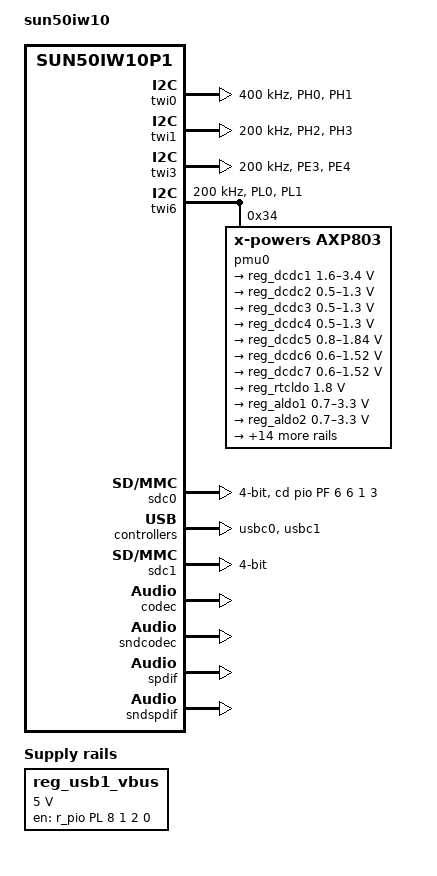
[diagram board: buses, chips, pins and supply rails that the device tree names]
/*
 * Allwinner Technology CO., Ltd. sun50iw10p1 soc board.
 *
 * soc board support.
 */

/dts-v1/;

#include "sun50iw10p1.dtsi"

/{
	model = "sun50iw10";
	compatible = "allwinner,a100", "arm,sun50iw10p1";

	aliases {
		pmu0 = &pmu0;
		standby_param = &standby_param;
	};

	reg_usb1_vbus: usb1-vbus {
		compatible = "regulator-fixed";
		gpio = <&r_pio PL 8 1 2 0 1>;
		regulator-name = "usb1-vbus";
		regulator-min-microvolt = <5000000>;
		regulator-max-microvolt = <5000000>;
		enable-active-high;
	};

	soc@03000000 {

		r_pio: pinctrl@07022000 {

			s_twi0_pins_a: s_twi0@0 {
				allwinner,pins = "PL0", "PL1";
				allwinner,pname = "s_twi0_scl", "s_twi0_sda";
				allwinner,function = "s_twi0";
				allwinner,muxsel = <2>;
				allwinner,drive = <1>;
				allwinner,pull = <1>;
			};

			s_twi0_pins_b: s_twi0@1 {
				allwinner,pins = "PL0", "PL1";
				allwinner,function = "io_disabled";
				allwinner,muxsel = <7>;
				allwinner,drive = <1>;
				allwinner,pull = <0>;
			};
		};
		pio: pinctrl@0300b000 {
			twi0_pins_a: twi0@0 {
				allwinner,pins = "PH0", "PH1";
				allwinner,pname = "twi0_scl", "twi0_sda";
				allwinner,function = "twi0";
				allwinner,muxsel = <2>;
				allwinner,drive = <1>;
				allwinner,pull = <0>;
			};

			twi0_pins_b: twi0@1 {
				allwinner,pins = "PH0", "PH1";
				allwinner,function = "io_disabled";
				allwinner,muxsel = <7>;
				allwinner,drive = <1>;
				allwinner,pull = <0>;
			};

			twi1_pins_a: twi1@0 {
				allwinner,pins = "PH2", "PH3";
				allwinner,pname = "twi1_scl", "twi1_sda";
				allwinner,function = "twi1";
				allwinner,muxsel = <2>;
				allwinner,drive = <1>;
				allwinner,pull = <0>;
			};

			twi1_pins_b: twi1@1 {
				allwinner,pins = "PH2", "PH3";
				allwinner,function = "io_disabled";
				allwinner,muxsel = <7>;
				allwinner,drive = <1>;
				allwinner,pull = <0>;
			};

			twi2_pins_a: twi2@0 {
				allwinner,pins = "PE1", "PE2";
				allwinner,pname = "twi2_scl", "twi2_sda";
				allwinner,function = "twi2";
				allwinner,muxsel = <2>;
				allwinner,drive = <1>;
				allwinner,pull = <0>;
			};

			twi2_pins_b: twi2@1 {
				allwinner,pins = "PE1", "PE2";
				allwinner,function = "io_disabled";
				allwinner,muxsel = <7>;
				allwinner,drive = <1>;
				allwinner,pull = <0>;
			};

			twi3_pins_a: twi3@0 {
				allwinner,pins = "PE3", "PE4";
				allwinner,pname = "twi3_scl", "twi3_sda";
				allwinner,function = "twi3";
				allwinner,muxsel = <2>;
				allwinner,drive = <1>;
				allwinner,pull = <1>;
			};

			twi3_pins_b: twi3@1 {
				allwinner,pins = "PE3", "PE4";
				allwinner,function = "io_disabled";
				allwinner,muxsel = <7>;
				allwinner,drive = <1>;
				allwinner,pull = <0>;
			};

			pwm0_pin_a: pwm0@0 {
				allwinner,pins = "PD23";
				allwinner,function = "pwm0";
				allwinner,muxsel = <0x02>;
				allwinner,drive = <0x2>;
				allwinner,pull = <0>;
				allwinner,data = <0xffffffff>;
			};

			pwm0_pin_b: pwm0@1 {
				allwinner,pins = "PD23";
				allwinner,function = "io_disabled";
				allwinner,muxsel = <0x07>;
				allwinner,drive = <0x2>;
				allwinner,pull = <0>;
				allwinner,data = <0xffffffff>;
			};

			pwm1_pin_a: pwm1@0 {
				allwinner,pins = "PD22";
				allwinner,function = "pwm1";
				allwinner,muxsel = <0x02>;
				allwinner,drive = <0x2>;
				allwinner,pull = <0>;
				allwinner,data = <0xffffffff>;
			};

			pwm1_pin_b: pwm1@1 {
				allwinner,pins = "PD22";
				allwinner,function = "io_disabled";
				allwinner,muxsel = <0x07>;
				allwinner,drive = <0x2>;
				allwinner,pull = <0>;
				allwinner,data = <0xffffffff>;
			};

			pwm2_pin_a: pwm2@0 {
				allwinner,pins = "PD20";
				allwinner,function = "pwm2";
				allwinner,muxsel = <0x02>;
				allwinner,drive = <0x2>;
				allwinner,pull = <0>;
				allwinner,data = <0xffffffff>;
			};

			pwm2_pin_b: pwm2@1 {
				allwinner,pins = "PD20";
				allwinner,function = "io_disabled";
				allwinner,muxsel = <0x07>;
				allwinner,drive = <0x2>;
				allwinner,pull = <0>;
				allwinner,data = <0xffffffff>;
			};

			pwm3_pin_a: pwm3@0 {
				allwinner,pins = "PD21";
				allwinner,function = "pwm3";
				allwinner,muxsel = <0x02>;
				allwinner,drive = <0x2>;
				allwinner,pull = <0>;
				allwinner,data = <0xffffffff>;
			};

			pwm3_pin_b: pwm3@1 {
				allwinner,pins = "PD21";
				allwinner,function = "io_disabled";
				allwinner,muxsel = <0x07>;
				allwinner,drive = <0x2>;
				allwinner,pull = <0>;
				allwinner,data = <0xffffffff>;
			};
		};

		twi0: twi@0x05002000{
			clock-frequency = <400000>;
			pinctrl-0 = <&twi0_pins_a>;
			pinctrl-1 = <&twi0_pins_b>;
			status = "okay";
		};

		twi1: twi@0x05002400{
			clock-frequency = <200000>;
			pinctrl-0 = <&twi1_pins_a>;
			pinctrl-1 = <&twi1_pins_b>;
			status = "okay";
		};

		twi2: twi@0x05002800{
			clock-frequency = <200000>;
			pinctrl-0 = <&twi2_pins_a>;
			pinctrl-1 = <&twi2_pins_b>;
			status = "disable";
		};

		twi3: twi@0x05002c00{
			clock-frequency = <200000>;
			pinctrl-0 = <&twi3_pins_a>;
			pinctrl-1 = <&twi3_pins_b>;
			status = "okay";
		};
		twi6: s_twi@0x07081400{
			clock-frequency = <200000>;
			pinctrl-0 = <&s_twi0_pins_a>;
			pinctrl-1 = <&s_twi0_pins_b>;
			twi_drv_used = <1>;
			status = "okay";

			pmu0: pmu@34 {
				compatible = "x-powers,axp803";
				reg = <0x34>;
				status = "okay";
				interrupts = <0 IRQ_TYPE_LEVEL_LOW>;
				interrupt-parent = <&nmi_intc>;
				x-powers,drive-vbus-en;

				wakeup-source;

				ac_power_supply: ac-power-supply {
					compatible = "x-powers,axp803-ac-power-supply";
					status = "okay";

					pmu_ac_vol = <4600>;
					pmu_ac_cur = <3000>;

					wakeup_ac_in;
					wakeup_ac_out;
				};

				usb_power_supply: usb_power_supply {
					compatible = "x-powers,axp803-usb-power-supply";
					status = "okay";

					pmu_usbpc_vol = <4600>;
					pmu_usbpc_cur = <500>;
					pmu_usbad_vol = <4600>;
					pmu_usbad_cur = <3000>;

					wakeup_usb_in;
					wakeup_usb_out;
				};

				charger0: charger@0 {
					compatible = "x-powers,axp803-power-supply";
					status = "okay";
					pmu_chg_ic_temp = <0>;
					pmu_battery_cap = <888>;
					pmu_runtime_chgcur = <1000>;
					pmu_suspend_chgcur = <1500>;
					pmu_shutdown_chgcur = <1500>;
					pmu_init_chgvol = <4200>;
					pmu_usbpc_cur = <2000>;
					pmu_battery_warning_level1 = <15>;
					pmu_battery_warning_level2 = <0x0>;
					pmu_chgled_type = <0x0>;

					wakeup_usb_in;
					wakeup_usb_out;
					wakeup_bat_out;
					/* wakeup_bat_in; */
					/* wakeup_bat_charging; */
					/* wakeup_bat_charge_over; */
					/* wakeup_low_warning1; */
					/* wakeup_low_warning2; */
					/* wakeup_bat_untemp_work; */
					/* wakeup_bat_ovtemp_work; */
					/* wakeup_bat_untemp_chg; */
					/* wakeup_bat_ovtemp_chg; */
				};

				powerkey0: powerkey@0 {
					status = "okay";
					compatible = "x-powers,axp2101-pek";
					pmu_powkey_off_time = <6000>;
					pmu_powkey_off_func = <0>;
					pmu_powkey_off_en = <1>;
					pmu_powkey_long_time = <1500>;
					pmu_powkey_on_time = <512>;
					wakeup_rising;
					/* wakeup_falling; */
				};

				regulator0: regulators@0 {
					reg_dcdc1: dcdc1 {
						regulator-name = "axp803-dcdc1";
						regulator-min-microvolt = <1600000>;
						regulator-max-microvolt = <3400000>;
						regulator-boot-on;
						regulator-always-on;
					};
					reg_dcdc2: dcdc2 {
						regulator-name = "axp803-dcdc2";
						regulator-min-microvolt = <500000>;
						regulator-max-microvolt = <1300000>;
						regulator-boot-on;
						regulator-always-on;
					};
					reg_dcdc3: dcdc3 {
						regulator-name = "axp803-dcdc3";
						regulator-min-microvolt = <500000>;
						regulator-max-microvolt = <1300000>;
						regulator-boot-on;
						regulator-always-on;
					};
					reg_dcdc4: dcdc4 {
						regulator-name = "axp803-dcdc4";
						regulator-min-microvolt = <500000>;
						regulator-max-microvolt = <1300000>;
						regulator-boot-on;
						regulator-always-on;
					};
					reg_dcdc5: dcdc5 {
						regulator-name = "axp803-dcdc5";
						regulator-min-microvolt = <800000>;
						regulator-max-microvolt = <1840000>;
						regulator-always-on;
					};
					reg_dcdc6: dcdc6 {
						regulator-name = "axp803-dcdc6";
						regulator-min-microvolt = <600000>;
						regulator-max-microvolt = <1520000>;
					};
					reg_dcdc7: dcdc7 {
						regulator-name = "axp803-dcdc7";
						regulator-min-microvolt = <600000>;
						regulator-max-microvolt = <1520000>;
					};
					reg_rtcldo: rtcldo {
						/* RTC_LDO is a fixed, always-on regulator */
						regulator-name = "axp803-rtcldo";
						regulator-min-microvolt = <1800000>;
						regulator-max-microvolt = <1800000>;
						regulator-boot-on;
						regulator-always-on;
					};
					reg_aldo1: aldo1 {
						regulator-name = "axp803-aldo1";
						regulator-min-microvolt = <700000>;
						regulator-max-microvolt = <3300000>;
						regulator-boot-on;
						regulator-always-on;
					};
					reg_aldo2: aldo2 {
						regulator-name = "axp803-aldo2";
						regulator-min-microvolt = <700000>;
						regulator-max-microvolt = <3300000>;
						regulator-always-on;
					};
					reg_aldo3: aldo3 {
						regulator-name = "axp803-aldo3";
						regulator-min-microvolt = <700000>;
						regulator-max-microvolt = <3300000>;
						regulator-always-on;
						regulator-boot-on;
					};
					reg_dldo1: dldo1 {
						regulator-name = "axp803-dldo1";
						regulator-min-microvolt = <700000>;
						regulator-max-microvolt = <3300000>;
					};
					reg_dldo2: dldo2 {
						regulator-name = "axp803-dldo2";
						regulator-min-microvolt = <700000>;
						regulator-max-microvolt = <4200000>;
					};
					reg_dldo3: dldo3 {
						regulator-name = "axp803-dldo3";
						regulator-min-microvolt = <700000>;
						regulator-max-microvolt = <3300000>;
					};
					reg_dldo4: dldo4 {
						regulator-name = "axp803-dldo4";
						regulator-min-microvolt = <700000>;
						regulator-max-microvolt = <3300000>;
					};
					reg_eldo1: eldo1 {
						regulator-name = "axp803-eldo1";
						regulator-min-microvolt = <700000>;
						regulator-max-microvolt = <1900000>;
						regulator-always-on;
					};
					reg_eldo2: eldo2 {
						regulator-name = "axp803-eldo2";
						regulator-min-microvolt = <700000>;
						regulator-max-microvolt = <1900000>;
					};
					reg_eldo3: eldo3 {
						regulator-name = "axp803-eldo3";
						regulator-min-microvolt = <700000>;
						regulator-max-microvolt = <1900000>;
					};
					reg_fldo1: fldo1 {
						regulator-name = "axp803-fldo1";
						regulator-min-microvolt = <700000>;
						regulator-max-microvolt = <1450000>;
						regulator-always-on;
					};
					reg_fldo2: fldo2 {
						regulator-name = "axp803-fldo2";
						regulator-min-microvolt = <700000>;
						regulator-max-microvolt = <1450000>;
					};
					reg_ldoio0: ldoio0 {
						regulator-name = "axp803-ldoio0";
						regulator-min-microvolt = <700000>;
						regulator-max-microvolt = <3300000>;
					};
					reg_ldoio1: ldoio1 {
						regulator-name = "axp803-ldoio1";
						regulator-min-microvolt = <700000>;
						regulator-max-microvolt = <3300000>;
					};
					reg_dc1sw: dc1sw {
						regulator-name = "axp803-dc1sw";
					};
					reg_drivevbus: drivevbus {
						regulator-name = "axp803-drivevbus";
					};
				};

				virtual-dcdc1 {
					compatible = "xpower-vregulator,dcdc1";
					dcdc1-supply = <&reg_dcdc1>;
				};
				virtual-dcdc2 {
					compatible = "xpower-vregulator,dcdc2";
					dcdc2-supply = <&reg_dcdc2>;
				};
				virtual-dcdc3 {
					compatible = "xpower-vregulator,dcdc3";
					dcdc3-supply = <&reg_dcdc3>;
				};
				virtual-dcdc4 {
					compatible = "xpower-vregulator,dcdc4";
					dcdc4-supply = <&reg_dcdc4>;
				};
				virtual-dcdc5 {
					compatible = "xpower-vregulator,dcdc5";
					dcdc5-supply = <&reg_dcdc5>;
				};
				virtual-dcdc6 {
					compatible = "xpower-vregulator,dcdc6";
					dcdc6-supply = <&reg_dcdc6>;
				};
				virtual-dcdc7 {
					compatible = "xpower-vregulator,dcdc7";
					dcdc7-supply = <&reg_dcdc7>;
				};
				virtual-rtcldo {
					compatible = "xpower-vregulator,rtcldo";
					rtcldo-supply = <&reg_rtcldo>;
				};
				virtual-aldo1 {
					compatible = "xpower-vregulator,aldo1";
					aldo1-supply = <&reg_aldo1>;
				};
				virtual-aldo2 {
					compatible = "xpower-vregulator,aldo2";
					aldo2-supply = <&reg_aldo2>;
				};
				virtual-aldo3 {
					compatible = "xpower-vregulator,aldo3";
					aldo3-supply = <&reg_aldo3>;
				};
				virtual-dldo1 {
					compatible = "xpower-vregulator,dldo1";
					dldo1-supply = <&reg_dldo1>;
				};
				virtual-dldo2 {
					compatible = "xpower-vregulator,dldo2";
					dldo2-supply = <&reg_dldo2>;
				};
				virtual-dldo3 {
					compatible = "xpower-vregulator,dldo3";
					dldo3-supply = <&reg_dldo3>;
				};
				virtual-dldo4 {
					compatible = "xpower-vregulator,dldo4";
					dldo4-supply = <&reg_dldo4>;
				};
				virtual-eldo1 {
					compatible = "xpower-vregulator,eldo1";
					eldo1-supply = <&reg_eldo1>;
				};
				virtual-eldo2 {
					compatible = "xpower-vregulator,eldo2";
					eldo2-supply = <&reg_eldo2>;
				};
				virtual-eldo3 {
					compatible = "xpower-vregulator,eldo3";
					eldo3-supply = <&reg_eldo3>;
				};
				virtual-fldo1 {
					compatible = "xpower-vregulator,fldo1";
					fldo1-supply = <&reg_fldo1>;
				};
				virtual-fldo2 {
					compatible = "xpower-vregulator,fldo2";
					fldo2-supply = <&reg_fldo2>;
				};
				virtual-ldoio0 {
					compatible = "xpower-vregulator,ldoio0";
					ldoio0-supply = <&reg_ldoio0>;
				};
				virtual-ldoio1 {
					compatible = "xpower-vregulator,ldoio1";
					ldoio1-supply = <&reg_ldoio1>;
				};
				virtual-dc1sw {
					compatible = "xpower-vregulator,dc1sw";
					dc1sw-supply = <&reg_dc1sw>;
				};
				virtual-drivevbus {
					compatible = "xpower-vregulator,drivevbus";
					drivevbus-supply = <&reg_drivevbus>;
				};

				axp_gpio0: axp_gpio@0 {
					gpio-controller;
					#size-cells = <0>;
					#gpio-cells = <6>;
					status = "okay";
				};
			};
		};

		standby_param: standby_param {
			vdd-cpu = <0x00000006>;
			vdd-sys = <0x00000008>;
			vcc-pll = <0x00000100>;

			osc24m-on = <0x1>;
		};

		pwm0: pwm0@0300a000 {
			pinctrl-names = "active", "sleep";
			pinctrl-0 = <&pwm0_pin_a>;
			pinctrl-1 = <&pwm0_pin_b>;
		};

		sdc2: sdmmc@04022000 {
			non-removable;
			bus-width = <8>;
			mmc-ddr-1_8v;
			mmc-hs200-1_8v;
			mmc-hs400-1_8v;
			no-sdio;
			no-sd;
			cap-mmc-highspeed;
			sunxi-power-save-mode;
			sunxi-dis-signal-vol-sw;
			max-frequency = <100000000>;
			vmmc-supply = <&reg_dcdc1>;
			/*emmc io vol 3.3v*/
			/*vqmmc-supply = <&reg_aldo1>;*/
			/*emmc io vol 1.8v*/
			vqmmc-supply = <&reg_eldo1>;
			status = "disabled";
		};

		sdc0: sdmmc@04020000 {
			bus-width = <4>;
			cd-gpios = <&pio PF 6 6 1 3 0xffffffff>;
			/*non-removable;*/
			/*broken-cd;*/
			/*cd-inverted*/
			/*data3-detect;*/
			cd-gpios = <&pio PF 6 6 1 3 0xffffffff>;
			cap-sd-highspeed;
			/*sd-uhs-sdr50;*/
			/*sd-uhs-ddr50;*/
			/*sd-uhs-sdr104;*/
			no-sdio;
			no-mmc;
			sunxi-power-save-mode;
			/*sunxi-dis-signal-vol-sw;*/
			/*max-frequency = <150000000>;*/
			ctl-spec-caps = <0x8>;
			/*vmmc-supply = <&reg_dcdc1>;*/
			/*vqmmc33sw-supply = <&reg_dcdc1>;*/
			/*vdmmc33sw-supply = <&reg_dcdc1>;*/
			/*vqmmc18sw-supply = <&reg_eldo1>;*/
			/*vdmmc18sw-supply = <&reg_eldo1>;*/
			status = "okay";
		};

/*
 *usb_used: usb controller enable. 0-disable, 1-enable.
 *usb_port_type: usb mode. 0-device, 1-host, 2-otg.
 *usb_detect_type: usb hotplug detect mode. 0-none, 1-vbus/id detect, 2-id/dpdm detect.
 *usb_drv_vbus_gpio：USB DRY_VBUS pin config or "axp_ctrl"
 */
		usbc0:usbc0@0 {
			device_type = "usbc0";
			usb_port_type = <0x2>;
			usb_detect_type = <0x1>;
			usb_id_gpio = <&pio PH 8 0 0 0xffffffff 0xffffffff>;
			usb_det_vbus_gpio   = "axp_ctrl";
			usb_regulator_io = "nocare";
			det_vbus_supply = <&usb_power_supply>;
			usb_wakeup_suspend = <0>;
			usb_luns = <3>;
			usb_serial_unique = <0>;
			usb_serial_number = "20080411";
			rndis_wceis = <1>;
			status = "okay";
		};

		udc:udc-controller@0x05100000 {
			det_vbus_supply = <&usb_power_supply>;
		};

		ehci0:ehci0-controller@0x05101000 {
			drvvbus-supply = <&reg_drivevbus>;
		};

		ohci0:ohci0-controller@0x05101400 {
			drvvbus-supply = <&reg_drivevbus>;
		};

		usbc1:usbc1@0 {
			device_type = "usbc1";
			usb_regulator_io = "nocare";
			usb_wakeup_suspend = <0>;
			status = "okay";
		};

		ehci1:ehci1-controller@0x05200000 {
			drvvbus-supply = <&reg_usb1_vbus>;
		};

		ohci1:ohci1-controller@0x05200400 {
			drvvbus-supply = <&reg_usb1_vbus>;
		};

		sdc1: sdmmc@04021000 {
			bus-width = <4>;
			no-mmc;
			no-sd;
			cap-sd-highspeed;
			/*sd-uhs-sdr12*/
			/*sd-uhs-sdr25*/
			/*sd-uhs-sdr50;*/
			/*sd-uhs-ddr50;*/
			/*sd-uhs-sdr104*/
			/*sunxi-power-save-mode;*/
			/*sunxi-dis-signal-vol-sw;*/
			cap-sdio-irq;
			keep-power-in-suspend;
			ignore-pm-notify;
			max-frequency = <50000000>;
			ctl-spec-caps = <0x8>;
			status = "okay";
		};

		/* Audio Driver Modules */
		codec:codec@0x05096000 {
			pa_level 	= <0x01>;
			mic1gain 	= <0x17>;
			mic2gain 	= <0x17>;
			adcdrc_cfg 	= <0x00>;
			adchpf_cfg 	= <0x00>;
			dacdrc_cfg 	= <0x00>;
			dachpf_cfg 	= <0x00>;
			digital_vol 	= <0x00>;
			lineout_vol 	= <0x1a>;
			headphonevol	= <0x1a>;
			headphonegain	= <0x00>;
			pa_msleep_time 	= <0xa0>;
/*			gpio-spk = <&pio PH 4 1 1 1 1>;*/
			/* regulator about */
			avcc-supply = <&reg_aldo1>;
			status = "okay";
		};

		sndcodec:sound@0 {
			status = "okay";
		};

		spdif:spdif-controller@0x05094000{
			status = "okay";
		};

		sndspdif:sound@1{
			status = "okay";
		};

		dmic:dmic-controller@0x05095000{
			status = "disabled";
		};

		snddmic:sound@2{
			status = "disabled";
		};

		daudio0:daudio@0x05090000 {
			mclk_div 	= <0x01>;
			frametype 	= <0x00>;
			tdm_config 	= <0x01>;
			sign_extend 	= <0x00>;
			tx_data_mode 	= <0x00>;
			rx_data_mode 	= <0x00>;
			msb_lsb_first 	= <0x00>;
			pcm_lrck_period = <0x80>;
			audio_format 	= <0x01>;
			daudio_master 	= <0x04>;
			signal_inversion  = <0x01>;
			slot_width_select = <0x20>;
			status = "okay";
		};

		snddaudio0:sound@3 {
/*			sunxi,snddaudio-codec = "ac108.1-003b";
			sunxi,snddaudio-codec-dai = "ac108-pcm0";*/
			status = "okay";
		};

		daudio1:daudio@0x05091000 {
			mclk_div 	= <0x01>;
			frametype 	= <0x00>;
			tdm_config 	= <0x01>;
			sign_extend 	= <0x00>;
			tx_data_mode 	= <0x00>;
			rx_data_mode 	= <0x00>;
			msb_lsb_first 	= <0x00>;
			pcm_lrck_period = <0x80>;
			audio_format 	= <0x01>;
			daudio_master 	= <0x04>;
			signal_inversion  = <0x01>;
			slot_width_select = <0x20>;
			status = "disabled";
		};

		snddaudio1:sound@4 {
			status = "disabled";
		};

		daudio2:daudio@0x05092000 {
			mclk_div 	= <0x01>;
			frametype 	= <0x00>;
			tdm_config 	= <0x01>;
			sign_extend 	= <0x00>;
			tx_data_mode 	= <0x00>;
			rx_data_mode 	= <0x00>;
			msb_lsb_first 	= <0x00>;
			pcm_lrck_period = <0x80>;
			audio_format 	= <0x01>;
			daudio_master 	= <0x04>;
			signal_inversion  = <0x01>;
			slot_width_select = <0x20>;
			status = "disabled";
		};

		snddaudio2:sound@5 {
			status = "disabled";
		};

		daudio3:daudio@0x05093000 {
			mclk_div 	= <0x01>;
			frametype 	= <0x00>;
			tdm_config 	= <0x01>;
			sign_extend 	= <0x00>;
			tx_data_mode 	= <0x00>;
			rx_data_mode 	= <0x00>;
			msb_lsb_first 	= <0x00>;
			pcm_lrck_period = <0x80>;
			audio_format 	= <0x01>;
			daudio_master 	= <0x04>;
			signal_inversion  = <0x01>;
			slot_width_select = <0x20>;
			status = "disabled";
		};

		snddaudio3:sound@6 {
			status = "disabled";
		};

/*----------------------------------------------------------------------------------
disp init configuration

disp_mode             (0:screen0<screen0,fb0>)
screenx_output_type   (0:none; 1:lcd; 2:tv; 3:hdmi;5:vdpo)
screenx_output_mode   (used for hdmi output, 0:480i 1:576i 2:480p 3:576p 4:720p50)
                      (5:720p60 6:1080i50 7:1080i60 8:1080p24 9:1080p50 10:1080p60)
screenx_output_format (for hdmi, 0:RGB 1:yuv444 2:yuv422 3:yuv420)
screenx_output_bits   (for hdmi, 0:8bit 1:10bit 2:12bit 2:16bit)
screenx_output_eotf   (for hdmi, 0:reserve 4:SDR 16:HDR10 18:HLG)
screenx_output_cs     (for hdmi, 0:undefined  257:BT709 260:BT601  263:BT2020)
screenx_output_dvi_hdmi (for hdmi, 0:undefined 1:dvi mode 2:hdmi mode)
screen0_output_range   (for hdmi, 0:default 1:full 2:limited)
screen0_output_scan    (for hdmi, 0:no data 1:overscan 2:underscan)
screen0_output_aspect_ratio  (for hdmi, 8-same as original picture 9-4:3 10-16:9 11-14:9)
fbx format            (4:RGB655 5:RGB565 6:RGB556 7:ARGB1555 8:RGBA5551 9:RGB888 10:ARGB8888 12:ARGB4444)
fbx pixel sequence    (0:ARGB 1:BGRA 2:ABGR 3:RGBA)
fb0_scaler_mode_enable(scaler mode enable, used FE)
fbx_width,fbx_height  (framebuffer horizontal/vertical pixels, fix to output resolution while equal 0)
lcdx_backlight        (lcd init backlight,the range:[0,256],default:197
lcdx_yy               (lcd init screen bright/contrast/saturation/hue, value:0~100, default:50/50/57/50)
lcd0_contrast         (LCD contrast, 0~100)
lcd0_saturation       (LCD saturation, 0~100)
lcd0_hue              (LCD hue, 0~100)
framebuffer software rotation setting:
disp_rotation_used:   (0:disable; 1:enable,you must set fbX_width to lcd_y,
set fbX_height to lcd_x)
degreeX:              (X:screen index; 0:0 degree; 1:90 degree; 3:270 degree)
degreeX_Y:            (X:screen index; Y:layer index 0~15; 0:0 degree; 1:90 degree; 3:270 degree)
devX_output_type : config output type in bootGUI framework in UBOOT-2018.
				   (0:none; 1:lcd; 2:tv; 4:hdmi;)
devX_output_mode : config output resolution(see include/video/sunxi_display2.h) of bootGUI framework in UBOOT-2018
devX_screen_id   : config display index of bootGUI framework in UBOOT-2018
devX_do_hpd      : whether do hpd detectation or not in UBOOT-2018
chn_cfg_mode     : Hardware DE channel allocation config. 0:single display with 6
				   channel, 1:dual display with 4 channel in main display and 2 channel in second
                   display, 2:dual display with 3 channel in main display and 3 channel in second
                   in display.
----------------------------------------------------------------------------------*/
		disp: disp@06000000 {
			disp_init_enable         = <1>;
			disp_mode                = <0>;

			screen0_output_type      = <1>;
			screen0_output_mode      = <4>;

			screen1_output_type      = <1>;
			screen1_output_mode      = <4>;

			screen1_output_format    = <0>;
			screen1_output_bits      = <0>;
			screen1_output_eotf      = <4>;
			screen1_output_cs        = <257>;
			screen1_output_dvi_hdmi  = <2>;
			screen1_output_range     = <2>;
			screen1_output_scan      = <0>;
			screen1_output_aspect_ratio = <8>;

			dev0_output_type         = <1>;
			dev0_output_mode         = <4>;
			dev0_screen_id           = <0>;
			dev0_do_hpd              = <0>;

			dev1_output_type         = <4>;
			dev1_output_mode         = <10>;
			dev1_screen_id           = <1>;
			dev1_do_hpd              = <1>;

			def_output_dev           = <0>;
			hdmi_mode_check          = <1>;

			fb0_format               = <0>;
			fb0_width                = <800>;
			fb0_height               = <1280>;

			fb1_format               = <0>;
			fb1_width                = <0>;
			fb1_height               = <0>;
			chn_cfg_mode             = <1>;

			disp_para_zone           = <1>;
			/*VCC-LCD*/
			dc1sw-supply = <&reg_dc1sw>;
			/*VCC-DSI*/
			eldo3-supply = <&reg_eldo3>;
			/*VCC-PD*/
			dcdc1-supply = <&reg_dcdc1>;
		};
/*----------------------------------------------------------------------------------
;lcd0 configuration

;lcd_if:               0:hv(sync+de); 1:8080; 2:ttl; 3:lvds; 4:dsi; 5:edp; 6:extend dsi
;lcd_hv_if             0:Parallel RGB; 8:Serial RGB; 10:Dummy RGB; 11: RGB Dummy;12:CCIR656
;lcd_hv_clk_phase      0:0 degree;1:90 degree;2:180 degree;3:270 degree
;lcd_hv_sync_polarity  0:vs low,hs low; 1:vs high,hslow; 2:vs low,hs high; 3:vs high,hs high
;lcd_hv_syuv_seq       0:YUYV; 1:YVYU; 2:UYVY; 3:VYUY
;lcd_cpu_if            0:18bit/1 cycle parallel(RGB666); 4:16bit/1cycle parallel (RGB565)
;                      6:18bit/3 cycle parallel(RGB666); 7:16bit/2cycle parallel (RGB565)
;lcd_cpu_te            0:frame auto trigger; 1:frame triggered by te rising edge; 2:frame triggered by te falling edge;
;lcd_dsi_if            0:video mode; 1: Command mode; 2:video burst mode
;lcd_dsi_te            0:frame auto trigger; 1:frame triggered by te rising edge; 2:frame triggered by te falling edge;
;lcd_x:                lcd horizontal resolution
;lcd_y:                lcd vertical resolution
;lcd_width:            width of lcd in mm
;lcd_height:           height of lcd in mm
;lcd_dclk_freq:        in MHZ unit
;lcd_pwm_freq:         in HZ unit
;lcd_pwm_pol:          lcd backlight PWM polarity
;lcd_pwm_max_limit     lcd backlight PWM max limit(<=255)
;lcd_hbp:              hsync back porch(pixel) + hsync plus width(pixel);
;lcd_ht:               hsync total cycle(pixel)
;lcd_vbp:              vsync back porch(line) + vysnc plus width(line)
;lcd_vt:               vysnc total cycle(line)
;lcd_hspw:             hsync plus width(pixel)
;lcd_vspw:             vysnc plus width(pixel)
;lcd_lvds_if:          0:single link;  1:dual link
;lcd_lvds_colordepth:  0:8bit; 1:6bit
;lcd_lvds_mode:        0:NS mode; 1:JEIDA mode
;lcd_frm:              0:disable; 1:enable rgb666 dither; 2:enable rgb656 dither
;lcd_io_phase:         0:noraml; 1:intert phase(0~3bit: vsync phase; 4~7bit:hsync phase;
;                      8~11bit:dclk phase; 12~15bit:de phase)
;lcd_gamma_en          lcd gamma correction enable
;lcd_bright_curve_en   lcd bright curve correction enable
;lcd_cmap_en           lcd color map function enable
;deu_mode              0:smoll lcd screen; 1:large lcd screen(larger than 10inch)
;lcdgamma4iep:         Smart Backlight parameter, lcd gamma vale * 10;
;                      decrease it while lcd is not bright enough; increase while lcd is too bright
;smart_color           90:normal lcd screen 65:retina lcd screen(9.7inch)
;Pin setting for special function ie.LVDS, RGB data or vsync
;   name(donot care) = port:PD12<pin function><pull up or pull down><drive ability><output level>
;Pin setting for gpio:
;   lcd_gpio_X     = port:PD12<pin function><pull up or pull down><drive ability><output level>
;Pin setting for backlight enable pin
;   lcd_bl_en     = port:PD12<pin function><pull up or pull down><drive ability><output level>
;fsync setting, pulse to csi
;lcd_fsync_en          (0:disable fsync,1:enable)
;lcd_fsync_act_time    (active time of fsync, unit:pixel)
;lcd_fsync_dis_time    (disactive time of fsync, unit:pixel)
;lcd_fsync_pol         (0:positive;1:negative)
;gpio config: <&pio for cpu or &r_pio for cpus, port, port num, pio function,
pull up or pull down(default 0), driver level(default 1), data>
;For dual link lvds: use lvds2link_pins_a  and lvds2link_pins_b instead
;For rgb24: use rgb24_pins_a  and rgb24_pins_b instead
;For lvds1: use lvds1_pins_a  and lvds1_pins_b instead
;For lvds0: use lvds0_pins_a  and lvds0_pins_b instead
;----------------------------------------------------------------------------------*/
		lcd0: lcd0@01c0c000 {
			lcd_used            = <1>;

			lcd_driver_name     = "he0801a068";
			lcd_backlight       = <50>;
			lcd_if              = <4>;

			lcd_x               = <800>;
			lcd_y               = <1280>;
			lcd_width           = <52>;
			lcd_height          = <52>;
			lcd_dclk_freq       = <78>;

			lcd_pwm_used        = <1>;
			lcd_pwm_ch          = <0>;
			lcd_pwm_freq        = <50000>;
			lcd_pwm_pol         = <0>;
			lcd_pwm_max_limit   = <255>;


			lcd_hbp             = <149>;
			lcd_ht              = <978>;
			lcd_hspw            = <16>;
			lcd_vbp             = <7>;
			lcd_vt              = <1329>;
			lcd_vspw            = <5>;

			lcd_dsi_lane        = <4>;
			lcd_lvds_if         = <0>;
			lcd_lvds_colordepth = <0>;
			lcd_lvds_mode       = <0>;
			lcd_frm             = <0>;
			lcd_hv_clk_phase    = <0>;
			lcd_hv_sync_polarity= <0>;
			lcd_gamma_en        = <0>;
			lcd_bright_curve_en = <0>;
			lcd_cmap_en         = <0>;
			lcd_fsync_en        = <0>;
			lcd_fsync_act_time  = <1000>;
			lcd_fsync_dis_time  = <1000>;
			lcd_fsync_pol       = <0>;

			deu_mode            = <0>;
			lcdgamma4iep        = <22>;
			smart_color         = <90>;

			lcd_pin_power = "dcdc1";
			lcd_pin_power1 = "eldo3";
			lcd_bl_en = <&pio PH 12 1 0 3 1>;

			lcd_power = "dc1sw";
			lcd_gpio_0 = <&pio PD 22 1 0 3 1>;
			pinctrl-0 = <&dsi4lane_pins_a>;
			pinctrl-1 = <&dsi4lane_pins_b>;


		};
		ctp {
			device_type = "ctp";
			status = "okay";
			ctp_name = "gslX680_3676_1280x800";
			ctp_twi_id = <0x0>;
			ctp_twi_addr = <0x40>;
			ctp_screen_max_x = <0x500>;
			ctp_screen_max_y = <0x320>;
			ctp_revert_x_flag = <0x0>;
			ctp_revert_y_flag = <0x0>;
			ctp_exchange_x_y_flag = <0x0>;
			ctp_int_port = <&pio PH 9 6 0xffffffff 0xffffffff 0>;
			ctp_wakeup = <&pio PH 10 1 0xffffffff 0xffffffff 1>;
			ctp-supply = <&reg_ldoio0>;
			ctp_power_ldo_vol = <3300>;
		};

		gsensor {
			device_type = "gsensor";
			status = "okay";
			gsensor_twi_id = <0x1>;
			gsensor_twi_addr = <0x19>;
			gsensor_int1 = <&pio PH 11 6 1 0xffffffff 0xffffffff>;
			gsensor-supply = <&reg_dcdc1>;
			gsensor_vcc_io_val = <3300>;
		};

		lightsensor {
			device_type = "lightsensor";
			status = "okay";
			ls_twi_id = <0x1>;
			ls_twi_addr = <0x48>;
			ls_int = <&pio PH 4 6 1 0xffffffff 0xffffffff>;
			lightsensor-supply = <&reg_dcdc1>;
		};

		hall_para {
			hall_name = "MH248";
			status = "okay";
			hall_int_port = <&r_pio PL 9 6 1 0xffffffff 0xffffffff>;
		};

		uart0: uart@05000000 {
			uart-supply = <&reg_dcdc1>;
		};
	};

	gpu: gpu@0x01800000 {
			gpu_idle = <0>;
			dvfs_status = <1>;
			pll_rate = <564000>;
			independent_power = <0>;
			operating-points = <
				 /* KHz   uV */
				458250 950000
				282000 950000
				264375 950000
				246750 950000
				229125 950000
			 >;
			 gpu-supply = <&reg_dcdc4>;
	};
};

&cpu0 {
	cpu-supply = <&reg_dcdc2>;
};
